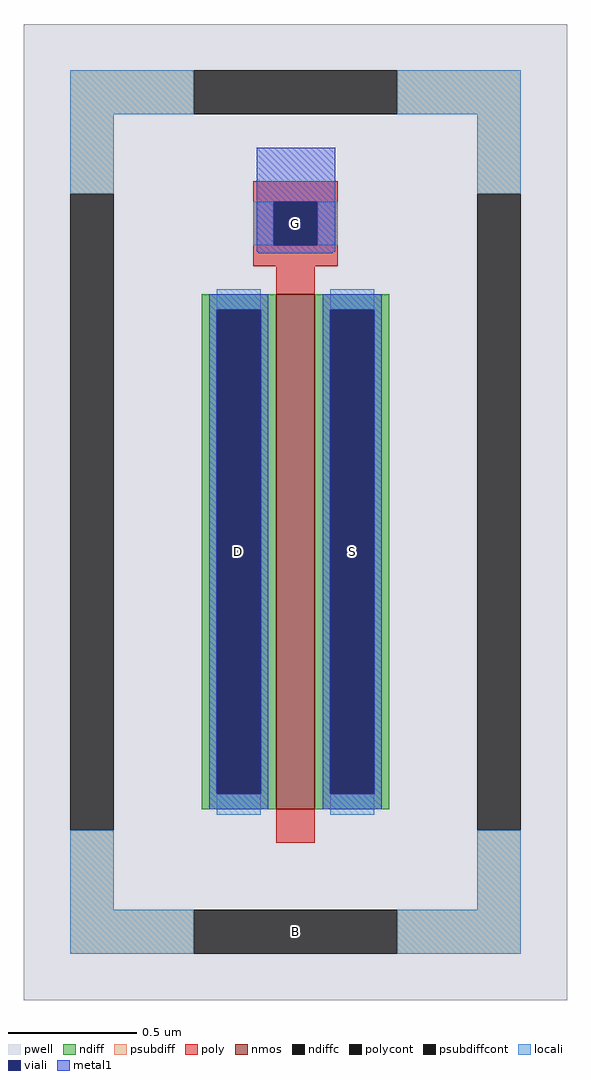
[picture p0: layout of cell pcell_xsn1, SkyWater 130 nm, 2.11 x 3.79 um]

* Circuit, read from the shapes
.subckt pcell_xsn1 B D S G
XM1 S G D B sky130_fd_pr__nfet_01v8 w=2 l=0.15
.ends

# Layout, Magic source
magic
tech sky130A
magscale 1 2
<< pwell >>
rect -211 -379 211 379
<< nmos >>
rect -15 -231 15 169
<< ndiff >>
rect -73 157 -15 169
rect -73 -219 -61 157
rect -27 -219 -15 157
rect -73 -231 -15 -219
rect 15 157 73 169
rect 15 -219 27 157
rect 61 -219 73 157
rect 15 -231 73 -219
<< ndiffc >>
rect -61 -219 -27 157
rect 27 -219 61 157
<< psubdiff >>
rect -175 309 -79 343
rect 79 309 175 343
rect -175 247 -141 309
rect 141 247 175 309
rect -175 -309 -141 -247
rect 141 -309 175 -247
rect -175 -343 -79 -309
rect 79 -343 175 -309
<< psubdiffcont >>
rect -79 309 79 343
rect -175 -247 -141 247
rect 141 -247 175 247
rect -79 -343 79 -309
<< poly >>
rect -33 241 33 257
rect -33 207 -17 241
rect 17 207 33 241
rect -33 191 33 207
rect -15 169 15 191
rect -15 -257 15 -231
<< polycont >>
rect -17 207 17 241
<< locali >>
rect -175 309 -79 343
rect 79 309 175 343
rect -175 247 -141 309
rect 141 247 175 309
rect -33 207 -17 241
rect 17 207 33 241
rect -61 157 -27 173
rect -61 -235 -27 -219
rect 27 157 61 173
rect 27 -235 61 -219
rect -175 -309 -141 -247
rect 141 -309 175 -247
rect -175 -343 -79 -309
rect 79 -343 175 -309
<< viali >>
rect -17 207 17 241
rect -61 -219 -27 157
rect 27 -219 61 157
<< metal1 >>
rect -30 241 31 283
rect -30 207 -17 241
rect 17 207 31 241
rect -30 202 31 207
rect -29 201 29 202
rect -67 157 -21 169
rect -67 -219 -61 157
rect -27 -219 -21 157
rect -67 -231 -21 -219
rect 21 157 67 169
rect 21 -219 27 157
rect 61 -219 67 157
rect 21 -231 67 -219
<< labels >>
rlabel psubdiffcont 0 -326 0 -326 0 B
port 1 nsew
rlabel ndiffc -44 -31 -44 -31 0 D
port 2 nsew
rlabel ndiffc 44 -31 44 -31 0 S
port 3 nsew
rlabel polycont 0 224 0 224 0 G
port 4 nsew
<< end >>
